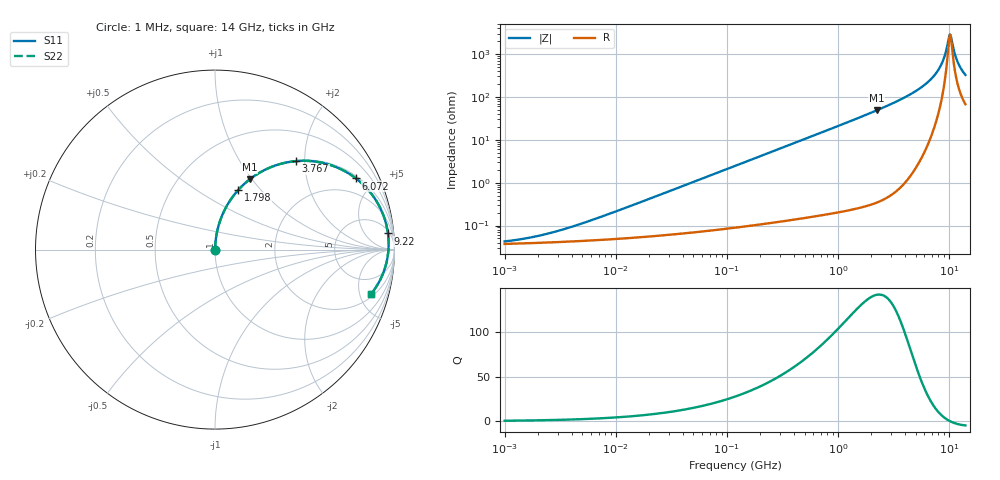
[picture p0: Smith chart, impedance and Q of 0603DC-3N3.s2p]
# MHz  S  MA  R  50
!Freq  MagS11  AngS11  MagS21  AngS21  MagS12  AngS12  MagS22  AngS22
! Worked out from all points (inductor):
!   801 points, 1 MHz to 14 GHz, reference 50 ohm
!   read as one part in series: L = 3.3 nH near 6.59 MHz
!   highest Q = 142 at 2.228 GHz (marker M1), where L = 3.47 nH
!   self-resonance near 10.21 GHz
!   S11 on the Smith chart (normalised r, x): 1 MHz: 1.00, +0.00; 1.798 GHz: 1.01, +0.77; 3.767 GHz: 1.02, +1.81; 6.072 GHz: 1.11, +3.90; 9.22 GHz: 7, +19; 14 GHz: 2.35, -6.37
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1  0.000426 29.1  0.9996 -0.0  0.9996 -0.0  0.000426 29.1
2.146299  0.0005959 48.3  0.9996 -0.0  0.9996 -0.0  0.0005959 48.3
4.948533  0.001114 66.9  0.9996 -0.1  0.9996 -0.1  0.001114 66.9
24.19749  0.005047 83.1  0.9994 -0.3  0.9994 -0.3  0.005047 83.1
119.742  0.02482 86.5  0.9988 -1.4  0.9988 -1.4  0.02482 86.5
585.5183  0.1207 82.3  0.9911 -6.9  0.9911 -6.9  0.1207 82.3
1797.672  0.3582 68.6  0.931 -21.0  0.931 -21.0  0.3582 68.6
2228.427  0.4354 63.8  0.8972 -25.8  0.8972 -25.8  0.4354 63.8
2863.085  0.54 56.9  0.8377 -32.7  0.8377 -32.7  0.54 56.9
3767.345  0.6679 47.6  0.7381 -41.9  0.7381 -41.9  0.6679 47.6
4840.289  0.7861 37.3  0.6066 -51.8  0.6066 -51.8  0.7861 37.3
6072.141  0.8798 26.8  0.451 -61.6  0.451 -61.6  0.8798 26.8
7895.149  0.9516 13.5  0.234 -71.4  0.234 -71.4  0.9516 13.5
8582.997  0.963 9.1  0.1601 -72.1  0.1601 -72.1  0.963 9.1
9220.085  0.9678 5.3  0.09714 -68.0  0.09714 -68.0  0.9678 5.3
9904.462  0.9678 1.6  0.04219 -39.4  0.04219 -39.4  0.9678 1.6
10265.47  0.966 -0.3  0.03432 7.9  0.03432 7.9  0.966 -0.3
10513.42  0.9642 -1.5  0.04427 35.2  0.04427 35.2  0.9642 -1.5
11293.8  0.9556 -5.2  0.09917 60.9  0.09917 60.9  0.9556 -5.2
11988.19  0.9451 -8.2  0.1497 64.4  0.1497 64.4  0.9451 -8.2
13032.63  0.9256 -12.3  0.2198 64.2  0.2198 64.2  0.9256 -12.3
14000  0.9047 -15.8  0.2777 62.3  0.2777 62.3  0.9047 -15.8
